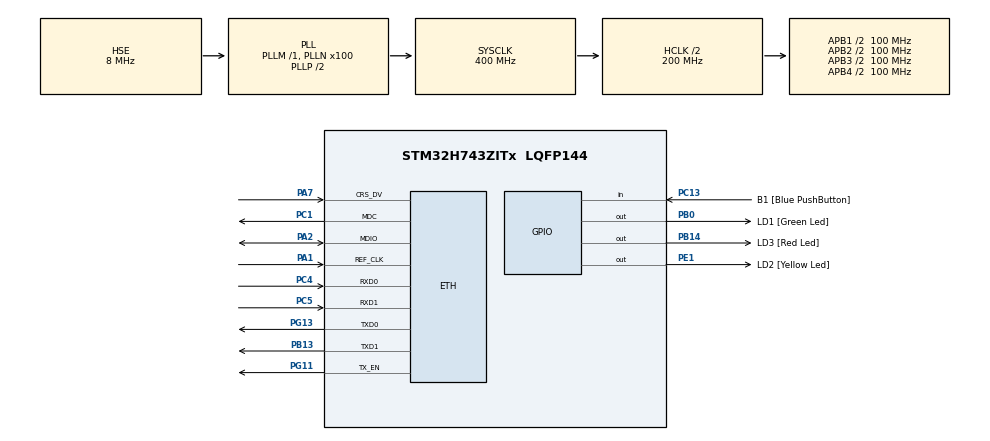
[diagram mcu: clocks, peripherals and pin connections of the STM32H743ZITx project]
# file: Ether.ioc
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CORTEX_M7.AccessPermission-Cortex_Memory_Protection_Unit_Region0_Settings=MPU_REGION_FULL_ACCESS
CORTEX_M7.AccessPermission-Cortex_Memory_Protection_Unit_Region1_Settings=MPU_REGION_FULL_ACCESS
CORTEX_M7.BaseAddress-Cortex_Memory_Protection_Unit_Region0_Settings=0x30040000
CORTEX_M7.BaseAddress-Cortex_Memory_Protection_Unit_Region1_Settings=0x30040000
CORTEX_M7.CPU_DCache=Enabled
CORTEX_M7.CPU_ICache=Enabled
CORTEX_M7.DisableExec-Cortex_Memory_Protection_Unit_Region0_Settings=MPU_INSTRUCTION_ACCESS_DISABLE
CORTEX_M7.DisableExec-Cortex_Memory_Protection_Unit_Region1_Settings=MPU_INSTRUCTION_ACCESS_DISABLE
CORTEX_M7.Enable-Cortex_Memory_Protection_Unit_Region0_Settings=MPU_REGION_ENABLE
CORTEX_M7.Enable-Cortex_Memory_Protection_Unit_Region1_Settings=MPU_REGION_ENABLE
CORTEX_M7.IsBufferable-Cortex_Memory_Protection_Unit_Region1_Settings=MPU_ACCESS_BUFFERABLE
CORTEX_M7.IsShareable-Cortex_Memory_Protection_Unit_Region1_Settings=MPU_ACCESS_SHAREABLE
CORTEX_M7.MPU_Control=MPU_PRIVILEGED_DEFAULT
CORTEX_M7.Size-Cortex_Memory_Protection_Unit_Region0_Settings=MPU_REGION_SIZE_32KB
CORTEX_M7.Size-Cortex_Memory_Protection_Unit_Region1_Settings=MPU_REGION_SIZE_256B
CORTEX_M7.TypeExtField-Cortex_Memory_Protection_Unit_Region0_Settings=MPU_TEX_LEVEL1
ETH.MediaInterface=HAL_ETH_RMII_MODE
FREERTOS.Tasks01=defaultTask,0,256,StartDefaultTask,Default,NULL,Dynamic,NULL,NULL
LWIP.BSP.number=1
LWIP.CHECKSUM_BY_HARDWARE=1
LWIP.GATEWAY_ADDRESS=192.168.000.001
LWIP.IP_ADDRESS=192.168.000.010
LWIP.LWIP_DHCP=0
LWIP.LWIP_NETIF_LINK_CALLBACK=1
LWIP.MEM_SIZE=16360
LWIP.NETMASK_ADDRESS=255.255.255.000
LWIP.Version=v2.0.3_Cube
LWIP0.BSP.STBoard=false
LWIP0.BSP.api=BSP_COMPONENT_DRIVER
LWIP0.BSP.component=LAN8742
LWIP0.BSP.i2caddr=0
LWIP0.BSP.instance=LAN8742
LWIP0.BSP.name=Driver_PHY
LWIP0.BSP.solution=LAN8742
Mcu.Family=STM32H7
Mcu.Name=STM32H743ZITx
Mcu.Package=LQFP144
NVIC.ETH_IRQn=true\:5\:0\:true\:false\:true\:true\:true\:true
NVIC.ETH_WKUP_IRQn=true\:5\:0\:true\:false\:true\:true\:true\:true
NVIC.PriorityGroup=NVIC_PRIORITYGROUP_4
NVIC.TIM17_IRQn=true\:0\:0\:false\:false\:true\:false\:false\:true
NVIC.TimeBase=TIM17_IRQn
NVIC.TimeBaseIP=TIM17
PA1.GPIO_Speed=GPIO_SPEED_FREQ_VERY_HIGH
PA1.Mode=RMII
PA1.Signal=ETH_REF_CLK
PA2.GPIO_Speed=GPIO_SPEED_FREQ_VERY_HIGH
PA2.Mode=RMII
PA2.Signal=ETH_MDIO
PA7.GPIO_Speed=GPIO_SPEED_FREQ_VERY_HIGH
PA7.Mode=RMII
PA7.Signal=ETH_CRS_DV
PB0.GPIO_Label=LD1 [Green Led]
PB0.Signal=GPIO_Output
PB13.GPIO_Speed=GPIO_SPEED_FREQ_VERY_HIGH
PB13.Mode=RMII
PB13.Signal=ETH_TXD1
PB14.GPIO_Label=LD3 [Red Led]
PB14.Signal=GPIO_Output
PC1.GPIO_Speed=GPIO_SPEED_FREQ_LOW
PC1.Mode=RMII
PC1.Signal=ETH_MDC
PC13.GPIO_Label=B1 [Blue PushButton]
PC13.Signal=GPIO_Input
PC14-OSC32_IN\ (OSC32_IN).Mode=LSE-External-Oscillator
PC14-OSC32_IN\ (OSC32_IN).Signal=RCC_OSC32_IN
PC15-OSC32_OUT\ (OSC32_OUT).Mode=LSE-External-Oscillator
PC15-OSC32_OUT\ (OSC32_OUT).Signal=RCC_OSC32_OUT
PC4.GPIO_Speed=GPIO_SPEED_FREQ_VERY_HIGH
PC4.Mode=RMII
PC4.Signal=ETH_RXD0
PC5.GPIO_Speed=GPIO_SPEED_FREQ_VERY_HIGH
PC5.Mode=RMII
PC5.Signal=ETH_RXD1
PE1.GPIO_Label=LD2 [Yellow Led]
PE1.Signal=GPIO_Output
PG11.GPIO_Speed=GPIO_SPEED_FREQ_VERY_HIGH
PG11.Mode=RMII
PG11.Signal=ETH_TX_EN
PG13.GPIO_Speed=GPIO_SPEED_FREQ_VERY_HIGH
PG13.Mode=RMII
PG13.Signal=ETH_TXD0
PH0-OSC_IN\ (PH0).Mode=HSE-External-Clock-Source
PH0-OSC_IN\ (PH0).Signal=RCC_OSC_IN
ProjectManager.HeapSize=0x200
ProjectManager.StackSize=0x400
ProjectManager.TargetToolchain=STM32CubeIDE
RCC.ADCFreq_Value=16125000
RCC.APB1Freq_Value=100000000
RCC.APB2Freq_Value=100000000
RCC.APB3Freq_Value=100000000
RCC.APB4Freq_Value=100000000
RCC.CortexFreq_Value=400000000
RCC.D1PPRE=RCC_APB3_DIV2
RCC.D2PPRE1=RCC_APB1_DIV2
RCC.D2PPRE2=RCC_APB2_DIV2
RCC.D3PPRE=RCC_APB4_DIV2
RCC.DIVM1=1
RCC.DIVN1=100
RCC.DIVQ1=4
RCC.HCLKFreq_Value=200000000
RCC.HPRE=RCC_HCLK_DIV2
RCC.HSE_VALUE=8000000
RCC.PLLFRACN=0
RCC.PLLSourceVirtual=RCC_PLLSOURCE_HSE
RCC.SYSCLKFreq_VALUE=400000000
RCC.SYSCLKSource=RCC_SYSCLKSOURCE_PLLCLK
RCC.USBFreq_Value=200000000
VP_FREERTOS_VS_CMSIS_V1.Mode=CMSIS_V1
VP_LWIP_VS_Enabled.Mode=Enabled
VP_SYS_VS_tim17.Mode=TIM17
board=NUCLEO-H743ZI2

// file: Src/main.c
/* USER CODE BEGIN Header */
/**
  ******************************************************************************
  * @file           : main.c
  * @brief          : Main program body
  ******************************************************************************
  * @attention
  *
  * <h2><center>&copy; Copyright (c) 2020 STMicroelectronics.
  * All rights reserved.</center></h2>
  *
  * This software component is licensed by ST under Ultimate Liberty license
  * SLA0044, the "License"; You may not use this file except in compliance with
  * the License. You may obtain a copy of the License at:
  *                             www.st.com/SLA0044
  *
  ******************************************************************************
  */
/* USER CODE END Header */

#include "main.h"
#include "cmsis_os.h"
#include "lwip.h"
#include "string.h"
#include "lwip/udp.h"

/* USER CODE BEGIN PTD */
struct udp_pcb;
/* USER CODE END PTD */

osThreadId defaultTaskHandle;

void SystemClock_Config(void);
static void MPU_Config(void);
static void MX_GPIO_Init(void);
void StartDefaultTask(void const * argument);

/* USER CODE BEGIN PFP */
static void udp_receive_callback(void *arg, struct udp_pcb *upcb, struct pbuf *p, const ip_addr_t *addr, u16_t port);
static void udp_transmit(struct udp_pcb *upcb, u8_t* buf, u16_t len);
static void udp_send_nack(struct udp_pcb *upcb);
static void udp_send_ack(struct udp_pcb *upcb);
/* USER CODE END PFP */

int main(void)
{

  /* MPU Configuration--------------------------------------------------------*/
  MPU_Config();

  /* Enable I-Cache---------------------------------------------------------*/
  SCB_EnableICache();

  /* Enable D-Cache---------------------------------------------------------*/
  SCB_EnableDCache();

  /* MCU Configuration--------------------------------------------------------*/

  /* Reset of all peripherals, Initializes the Flash interface and the Systick. */
  HAL_Init();

  /* Configure the system clock */
  SystemClock_Config();

  /* Initialize all configured peripherals */
  MX_GPIO_Init();

  /* Create the thread(s) */
  /* definition and creation of defaultTask */
  osThreadDef(defaultTask, StartDefaultTask, osPriorityNormal, 0, 256);
  defaultTaskHandle = osThreadCreate(osThread(defaultTask), NULL);

  /* Start scheduler */
  osKernelStart();

  /* We should never get here as control is now taken by the scheduler */
  /* Infinite loop */
  while (1)
  {

  }
}

void SystemClock_Config(void)
{
  RCC_OscInitTypeDef RCC_OscInitStruct = {0};
  RCC_ClkInitTypeDef RCC_ClkInitStruct = {0};

  /** Supply configuration update enable
  */
  HAL_PWREx_ConfigSupply(PWR_LDO_SUPPLY);
  /** Configure the main internal regulator output voltage
  */
  __HAL_PWR_VOLTAGESCALING_CONFIG(PWR_REGULATOR_VOLTAGE_SCALE1);

  while(!__HAL_PWR_GET_FLAG(PWR_FLAG_VOSRDY)) {}
  /** Initializes the CPU, AHB and APB busses clocks
  */
  RCC_OscInitStruct.OscillatorType = RCC_OSCILLATORTYPE_HSE;
  RCC_OscInitStruct.HSEState = RCC_HSE_BYPASS;
  RCC_OscInitStruct.PLL.PLLState = RCC_PLL_ON;
  RCC_OscInitStruct.PLL.PLLSource = RCC_PLLSOURCE_HSE;
  RCC_OscInitStruct.PLL.PLLM = 1;
  RCC_OscInitStruct.PLL.PLLN = 100;
  RCC_OscInitStruct.PLL.PLLP = 2;
  RCC_OscInitStruct.PLL.PLLQ = 4;
  RCC_OscInitStruct.PLL.PLLR = 2;
  RCC_OscInitStruct.PLL.PLLRGE = RCC_PLL1VCIRANGE_3;
  RCC_OscInitStruct.PLL.PLLVCOSEL = RCC_PLL1VCOWIDE;
  RCC_OscInitStruct.PLL.PLLFRACN = 0;
  if (HAL_RCC_OscConfig(&RCC_OscInitStruct) != HAL_OK)
  {
    Error_Handler();
  }
  /** Initializes the CPU, AHB and APB busses clocks
  */
  RCC_ClkInitStruct.ClockType = RCC_CLOCKTYPE_HCLK|RCC_CLOCKTYPE_SYSCLK
                              |RCC_CLOCKTYPE_PCLK1|RCC_CLOCKTYPE_PCLK2
                              |RCC_CLOCKTYPE_D3PCLK1|RCC_CLOCKTYPE_D1PCLK1;
  RCC_ClkInitStruct.SYSCLKSource = RCC_SYSCLKSOURCE_PLLCLK;
  RCC_ClkInitStruct.SYSCLKDivider = RCC_SYSCLK_DIV1;
  RCC_ClkInitStruct.AHBCLKDivider = RCC_HCLK_DIV2;
  RCC_ClkInitStruct.APB3CLKDivider = RCC_APB3_DIV2;
  RCC_ClkInitStruct.APB1CLKDivider = RCC_APB1_DIV2;
  RCC_ClkInitStruct.APB2CLKDivider = RCC_APB2_DIV2;
  RCC_ClkInitStruct.APB4CLKDivider = RCC_APB4_DIV2;

  if (HAL_RCC_ClockConfig(&RCC_ClkInitStruct, FLASH_LATENCY_2) != HAL_OK)
  {
    Error_Handler();
  }
}

static void MX_GPIO_Init(void)
{
  GPIO_InitTypeDef GPIO_InitStruct = {0};

  /* GPIO Ports Clock Enable */
  __HAL_RCC_GPIOC_CLK_ENABLE();
  __HAL_RCC_GPIOH_CLK_ENABLE();
  __HAL_RCC_GPIOA_CLK_ENABLE();
  __HAL_RCC_GPIOB_CLK_ENABLE();
  __HAL_RCC_GPIOG_CLK_ENABLE();
  __HAL_RCC_GPIOE_CLK_ENABLE();

  /*Configure GPIO pin Output Level */
  HAL_GPIO_WritePin(GPIOB, LD1_Pin|LD3_Pin, GPIO_PIN_RESET);

  /*Configure GPIO pin Output Level */
  HAL_GPIO_WritePin(LD2_GPIO_Port, LD2_Pin, GPIO_PIN_RESET);

  /*Configure GPIO pin : B1_Pin */
  GPIO_InitStruct.Pin = B1_Pin;
  GPIO_InitStruct.Mode = GPIO_MODE_INPUT;
  GPIO_InitStruct.Pull = GPIO_NOPULL;
  HAL_GPIO_Init(B1_GPIO_Port, &GPIO_InitStruct);

  /*Configure GPIO pins : LD1_Pin LD3_Pin */
  GPIO_InitStruct.Pin = LD1_Pin|LD3_Pin;
  GPIO_InitStruct.Mode = GPIO_MODE_OUTPUT_PP;
  GPIO_InitStruct.Pull = GPIO_NOPULL;
  GPIO_InitStruct.Speed = GPIO_SPEED_FREQ_LOW;
  HAL_GPIO_Init(GPIOB, &GPIO_InitStruct);

  /*Configure GPIO pin : LD2_Pin */
  GPIO_InitStruct.Pin = LD2_Pin;
  GPIO_InitStruct.Mode = GPIO_MODE_OUTPUT_PP;
  GPIO_InitStruct.Pull = GPIO_NOPULL;
  GPIO_InitStruct.Speed = GPIO_SPEED_FREQ_LOW;
  HAL_GPIO_Init(LD2_GPIO_Port, &GPIO_InitStruct);

}

/* USER CODE BEGIN 4 */

GPIO_TypeDef *GPIO_Table[] = {GPIOA, GPIOB, GPIOC, GPIOD, GPIOE, GPIOF, GPIOG, GPIOH, GPIOI, GPIOJ, GPIOK};

static void udp_receive_callback(void *arg, struct udp_pcb *upcb, struct pbuf *p, const ip_addr_t *addr, u16_t port) {
	char buf[100];
	char buf2[2];
	memset(buf, 0, sizeof(buf));
	memset(buf2, 0, sizeof(buf2));
	memcpy((void*) buf, (const void*) p->payload, p->len);

	do{
		if((buf[0]=='W') && (buf[1]=='D')){
			int portIdx = buf[2] - 'A';
			if((portIdx < 0) || (portIdx >= sizeof(GPIO_Table)/sizeof(GPIO_Table[0]))){
				udp_send_nack(upcb);
				break;
			}

			buf2[0] = buf[3];
			int pin = strtol(buf2, NULL, 16);

			buf2[0] = buf[4];
			int val = strtol(buf2, NULL, 16);
			if(val > 1){
				udp_send_nack(upcb);
				break;
			}

			HAL_GPIO_WritePin(GPIO_Table[portIdx], 1 << pin, val);

			u8_t sendBuf[2] = {0x00, 0x00};
			sendBuf[0] = HAL_GPIO_ReadPin(GPIO_Table[portIdx], 1 << pin) + '0';
			udp_transmit(upcb, sendBuf, sizeof(sendBuf));
		}else if((buf[0]=='R') && (buf[1]=='D')){
			int portIdx = buf[2] - 'A';
			if((portIdx < 0) || (portIdx >= sizeof(GPIO_Table)/sizeof(GPIO_Table[0]))){
				udp_send_nack(upcb);
				break;
			}

			buf2[0] = buf[3];
			int pin = strtol(buf2, NULL, 16);

			u8_t sendBuf[2] = {0x00, 0x00};
			sendBuf[0] = HAL_GPIO_ReadPin(GPIO_Table[portIdx], 1 << pin) + '0';
			udp_transmit(upcb, sendBuf, sizeof(sendBuf));
		}else{
			udp_send_nack(upcb);
		}
	}while(0);

	pbuf_free(p);		// Free the p buffer
}

static void udp_transmit(struct udp_pcb *pcb, u8_t* buf, u16_t len)
{
	struct pbuf *udp_buffer = NULL;

	udp_buffer = pbuf_alloc(PBUF_TRANSPORT, len, PBUF_RAM);
	if (udp_buffer != NULL) {
		memcpy(udp_buffer->payload, buf, len);
		udp_send(pcb, udp_buffer);
		pbuf_free(udp_buffer);
	}
}

static void udp_send_nack(struct udp_pcb *upcb)
{
	struct pbuf *udp_buffer = NULL;
	u8_t sendBuf[]= "nack";

	udp_buffer = pbuf_alloc(PBUF_TRANSPORT, sizeof(sendBuf), PBUF_RAM);
	if (udp_buffer != NULL) {
		memcpy(udp_buffer->payload, sendBuf, sizeof(sendBuf));
		udp_send(upcb, udp_buffer);
		pbuf_free(udp_buffer);
	}
}

static void udp_send_ack(struct udp_pcb *upcb)
{
	struct pbuf *udp_buffer = NULL;
	u8_t sendBuf[]= "ack";

	udp_buffer = pbuf_alloc(PBUF_TRANSPORT, sizeof(sendBuf), PBUF_RAM);
	if (udp_buffer != NULL) {
		memcpy(udp_buffer->payload, sendBuf, sizeof(sendBuf));
		udp_send(upcb, udp_buffer);
		pbuf_free(udp_buffer);
	}
}

/* USER CODE END 4 */

void StartDefaultTask(void const *argument) {
	/* init code for LWIP */
	MX_LWIP_Init();
	/* USER CODE BEGIN 5 */
	const char *message = "Hello UDP message!\n\r";

	osDelay(1000);

	ip_addr_t PC_IPADDR;
	IP_ADDR4(&PC_IPADDR, 192, 168, 0, 2);

	struct udp_pcb *my_udp = udp_new();
	udp_connect(my_udp, &PC_IPADDR, 55151);
	udp_recv(my_udp, udp_receive_callback, NULL);
	struct pbuf *udp_buffer = NULL;

	/* Infinite loop */
	for (;;) {
		osDelay(1000);
		udp_buffer = pbuf_alloc(PBUF_TRANSPORT, strlen(message), PBUF_RAM);
		if (udp_buffer != NULL) {
			memcpy(udp_buffer->payload, message, strlen(message));
//			udp_send(my_udp, udp_buffer);
			pbuf_free(udp_buffer);
		}
	}
	/* USER CODE END 5 */
}

/* MPU Configuration */

void MPU_Config(void)
{
  MPU_Region_InitTypeDef MPU_InitStruct = {0};

  /* Disables the MPU */
  HAL_MPU_Disable();
  /** Initializes and configures the Region and the memory to be protected
  */
  MPU_InitStruct.Enable = MPU_REGION_ENABLE;
  MPU_InitStruct.Number = MPU_REGION_NUMBER0;
  MPU_InitStruct.BaseAddress = 0x30040000;
  MPU_InitStruct.Size = MPU_REGION_SIZE_32KB;
  MPU_InitStruct.SubRegionDisable = 0x0;
  MPU_InitStruct.TypeExtField = MPU_TEX_LEVEL1;
  MPU_InitStruct.AccessPermission = MPU_REGION_FULL_ACCESS;
  MPU_InitStruct.DisableExec = MPU_INSTRUCTION_ACCESS_DISABLE;
  MPU_InitStruct.IsShareable = MPU_ACCESS_NOT_SHAREABLE;
  MPU_InitStruct.IsCacheable = MPU_ACCESS_NOT_CACHEABLE;
  MPU_InitStruct.IsBufferable = MPU_ACCESS_NOT_BUFFERABLE;

  HAL_MPU_ConfigRegion(&MPU_InitStruct);
  /** Initializes and configures the Region and the memory to be protected
  */
  MPU_InitStruct.Enable = MPU_REGION_ENABLE;
  MPU_InitStruct.Number = MPU_REGION_NUMBER1;
  MPU_InitStruct.BaseAddress = 0x30040000;
  MPU_InitStruct.Size = MPU_REGION_SIZE_256B;
  MPU_InitStruct.SubRegionDisable = 0x0;
  MPU_InitStruct.TypeExtField = MPU_TEX_LEVEL0;
  MPU_InitStruct.AccessPermission = MPU_REGION_FULL_ACCESS;
  MPU_InitStruct.DisableExec = MPU_INSTRUCTION_ACCESS_DISABLE;
  MPU_InitStruct.IsShareable = MPU_ACCESS_SHAREABLE;
  MPU_InitStruct.IsCacheable = MPU_ACCESS_NOT_CACHEABLE;
  MPU_InitStruct.IsBufferable = MPU_ACCESS_BUFFERABLE;

  HAL_MPU_ConfigRegion(&MPU_InitStruct);
  /* Enables the MPU */
  HAL_MPU_Enable(MPU_PRIVILEGED_DEFAULT);

}
void HAL_TIM_PeriodElapsedCallback(TIM_HandleTypeDef *htim)
{
  if (htim->Instance == TIM17) {
    HAL_IncTick();
  }
}

void Error_Handler(void)
{
}

/************************ (C) COPYRIGHT STMicroelectronics *****END OF FILE****/
